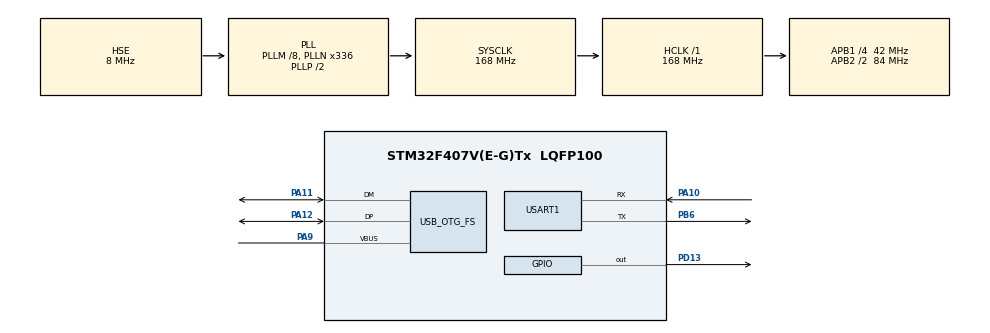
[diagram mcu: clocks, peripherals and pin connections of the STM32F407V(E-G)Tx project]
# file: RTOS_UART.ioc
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Dma.Request0=USART1_RX
Dma.Request1=USART1_TX
Dma.USART1_RX.0.Direction=DMA_PERIPH_TO_MEMORY
Dma.USART1_RX.0.FIFOMode=DMA_FIFOMODE_DISABLE
Dma.USART1_RX.0.Instance=DMA2_Stream2
Dma.USART1_RX.0.MemDataAlignment=DMA_MDATAALIGN_BYTE
Dma.USART1_RX.0.MemInc=DMA_MINC_ENABLE
Dma.USART1_RX.0.Mode=DMA_CIRCULAR
Dma.USART1_RX.0.PeriphDataAlignment=DMA_PDATAALIGN_BYTE
Dma.USART1_RX.0.PeriphInc=DMA_PINC_DISABLE
Dma.USART1_RX.0.Priority=DMA_PRIORITY_LOW
Dma.USART1_TX.1.Direction=DMA_MEMORY_TO_PERIPH
Dma.USART1_TX.1.FIFOMode=DMA_FIFOMODE_DISABLE
Dma.USART1_TX.1.Instance=DMA2_Stream7
Dma.USART1_TX.1.MemDataAlignment=DMA_MDATAALIGN_BYTE
Dma.USART1_TX.1.MemInc=DMA_MINC_ENABLE
Dma.USART1_TX.1.Mode=DMA_NORMAL
Dma.USART1_TX.1.PeriphDataAlignment=DMA_PDATAALIGN_BYTE
Dma.USART1_TX.1.PeriphInc=DMA_PINC_DISABLE
Dma.USART1_TX.1.Priority=DMA_PRIORITY_LOW
FREERTOS.Mutexes01=uartTxSem,Dynamic,NULL,Available
FREERTOS.Queues01=Queue_USART1_Rx,16,UartFrame_t,0,Dynamic,NULL,NULL;Queue_USART1_Tx,16,UartFrame_t,0,Dynamic,NULL,NULL
FREERTOS.Tasks01=Task_Usart1Rx,24,128,StartTask_Usart1Rx,Default,NULL,Dynamic,NULL,NULL;Task_Usart1Tx,24,128,StartTask_Usart1Tx,Default,NULL,Dynamic,NULL,NULL;TaskProcessing,24,128,StartTaskProcessing,Default,NULL,Dynamic,NULL,NULL
FREERTOS.configUSE_NEWLIB_REENTRANT=1
Mcu.Family=STM32F4
Mcu.Name=STM32F407V(E-G)Tx
Mcu.Package=LQFP100
NVIC.DMA2_Stream2_IRQn=true\:5\:0\:false\:false\:true\:true\:false\:true\:true
NVIC.DMA2_Stream7_IRQn=true\:5\:0\:false\:false\:true\:true\:false\:true\:true
NVIC.PriorityGroup=NVIC_PRIORITYGROUP_4
NVIC.TIM7_IRQn=true\:15\:0\:false\:false\:true\:false\:false\:true\:true
NVIC.TimeBase=TIM7_IRQn
NVIC.TimeBaseIP=TIM7
NVIC.USART1_IRQn=true\:5\:0\:false\:false\:true\:true\:true\:true\:true
PA10.Mode=Asynchronous
PA10.Signal=USART1_RX
PA11.Mode=Device_Only
PA11.Signal=USB_OTG_FS_DM
PA12.Mode=Device_Only
PA12.Signal=USB_OTG_FS_DP
PA13.Mode=Serial_Wire
PA13.Signal=SYS_JTMS-SWDIO
PA14.Mode=Serial_Wire
PA14.Signal=SYS_JTCK-SWCLK
PA9.Mode=Activate_VBUS
PA9.Signal=USB_OTG_FS_VBUS
PB6.Mode=Asynchronous
PB6.Signal=USART1_TX
PD13.Signal=GPIO_Output
PH0-OSC_IN.Mode=HSE-External-Oscillator
PH0-OSC_IN.Signal=RCC_OSC_IN
PH1-OSC_OUT.Mode=HSE-External-Oscillator
PH1-OSC_OUT.Signal=RCC_OSC_OUT
ProjectManager.HeapSize=0x200
ProjectManager.StackSize=0x400
ProjectManager.TargetToolchain=STM32CubeIDE
RCC.48MHZClocksFreq_Value=48000000
RCC.AHBFreq_Value=168000000
RCC.APB1CLKDivider=RCC_HCLK_DIV4
RCC.APB1Freq_Value=42000000
RCC.APB1TimFreq_Value=84000000
RCC.APB2CLKDivider=RCC_HCLK_DIV2
RCC.APB2Freq_Value=84000000
RCC.APB2TimFreq_Value=168000000
RCC.CortexFreq_Value=168000000
RCC.HCLKFreq_Value=168000000
RCC.HSE_VALUE=8000000
RCC.HSI_VALUE=16000000
RCC.LSE_VALUE=32768
RCC.PLLM=8
RCC.PLLN=336
RCC.PLLQ=7
RCC.SYSCLKFreq_VALUE=168000000
RCC.SYSCLKSource=RCC_SYSCLKSOURCE_PLLCLK
RCC.VCOOutputFreq_Value=336000000
USART1.VirtualMode=VM_ASYNC
USB_OTG_FS.VirtualMode=Device_Only
VP_FREERTOS_VS_CMSIS_V2.Mode=CMSIS_V2
VP_SYS_VS_tim7.Mode=TIM7
board=STM32F407G-DISC1

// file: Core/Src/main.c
/* USER CODE BEGIN Header */
/**
  ******************************************************************************
  * @file           : main.c
  * @brief          : Main program body
  ******************************************************************************
  * @attention
  *
  * Copyright (c) 2026 STMicroelectronics.
  * All rights reserved.
  *
  * This software is licensed under terms that can be found in the LICENSE file
  * in the root directory of this software component.
  * If no LICENSE file comes with this software, it is provided AS-IS.
  *
  ******************************************************************************
  */
/* USER CODE END Header */
#include "main.h"
#include "cmsis_os.h"

/* USER CODE BEGIN Includes */
#include "usart.h"

/* USER CODE END Includes */

UART_HandleTypeDef huart1;
DMA_HandleTypeDef hdma_usart1_rx;
DMA_HandleTypeDef hdma_usart1_tx;

PCD_HandleTypeDef hpcd_USB_OTG_FS;

/* Definitions for Task_Usart1Rx */
osThreadId_t Task_Usart1RxHandle;
const osThreadAttr_t Task_Usart1Rx_attributes = {
  .name = "Task_Usart1Rx",
  .stack_size = 128 * 4,
  .priority = (osPriority_t) osPriorityNormal,
};
/* Definitions for Task_Usart1Tx */
osThreadId_t Task_Usart1TxHandle;
const osThreadAttr_t Task_Usart1Tx_attributes = {
  .name = "Task_Usart1Tx",
  .stack_size = 128 * 4,
  .priority = (osPriority_t) osPriorityNormal,
};
/* Definitions for TaskProcessing */
osThreadId_t TaskProcessingHandle;
const osThreadAttr_t TaskProcessing_attributes = {
  .name = "TaskProcessing",
  .stack_size = 128 * 4,
  .priority = (osPriority_t) osPriorityNormal,
};
/* Definitions for Queue_USART1_Rx */
osMessageQueueId_t Queue_USART1_RxHandle;
const osMessageQueueAttr_t Queue_USART1_Rx_attributes = {
  .name = "Queue_USART1_Rx"
};
/* Definitions for Queue_USART1_Tx */
osMessageQueueId_t Queue_USART1_TxHandle;
const osMessageQueueAttr_t Queue_USART1_Tx_attributes = {
  .name = "Queue_USART1_Tx"
};
/* Definitions for uartTxSem */
osMutexId_t uartTxSemHandle;
const osMutexAttr_t uartTxSem_attributes = {
  .name = "uartTxSem"
};

void SystemClock_Config(void);
static void MX_GPIO_Init(void);
static void MX_DMA_Init(void);
static void MX_USB_OTG_FS_PCD_Init(void);
static void MX_USART1_UART_Init(void);
void StartTask_Usart1Rx(void *argument);
void StartTask_Usart1Tx(void *argument);
void StartTaskProcessing(void *argument);

int main(void)
{

  /* MCU Configuration--------------------------------------------------------*/

  /* Reset of all peripherals, Initializes the Flash interface and the Systick. */
  HAL_Init();

  /* Configure the system clock */
  SystemClock_Config();

  /* Initialize all configured peripherals */
  MX_GPIO_Init();
  MX_DMA_Init();
  MX_USB_OTG_FS_PCD_Init();
  MX_USART1_UART_Init();

  /* Init scheduler */
  osKernelInitialize();
  /* Create the mutex(es) */
  /* creation of uartTxSem */
  uartTxSemHandle = osMutexNew(&uartTxSem_attributes);

  /* USER CODE BEGIN RTOS_SEMAPHORES */
  /* create UART TX completion semaphore (initial count 1 so the first acquire succeeds) */
  {
    const osSemaphoreAttr_t uartTxSemAttr = { .name = "uartTxSem" };
    uartTxSemHandle = osSemaphoreNew(1, 1, &uartTxSemAttr);
    /* make the global uartTxSem (declared in usart.h) point to this handle */
    uartTxSem = (osSemaphoreId_t)uartTxSemHandle;
  }
  /* USER CODE END RTOS_SEMAPHORES */

  /* Create the queue(s) */
  /* creation of Queue_USART1_Rx */
  Queue_USART1_RxHandle = osMessageQueueNew (16, sizeof(UartFrame_t), &Queue_USART1_Rx_attributes);

  /* creation of Queue_USART1_Tx */
  Queue_USART1_TxHandle = osMessageQueueNew (16, sizeof(UartFrame_t), &Queue_USART1_Tx_attributes);

  /* Create the thread(s) */
  /* creation of Task_Usart1Rx */
  Task_Usart1RxHandle = osThreadNew(StartTask_Usart1Rx, NULL, &Task_Usart1Rx_attributes);

  /* creation of Task_Usart1Tx */
  Task_Usart1TxHandle = osThreadNew(StartTask_Usart1Tx, NULL, &Task_Usart1Tx_attributes);

  /* creation of TaskProcessing */
  TaskProcessingHandle = osThreadNew(StartTaskProcessing, NULL, &TaskProcessing_attributes);

  /* Start scheduler */
  osKernelStart();

  /* We should never get here as control is now taken by the scheduler */

  /* Infinite loop */
  while (1)
  {

  }
}

void SystemClock_Config(void)
{
  RCC_OscInitTypeDef RCC_OscInitStruct = {0};
  RCC_ClkInitTypeDef RCC_ClkInitStruct = {0};

  /** Configure the main internal regulator output voltage
  */
  __HAL_RCC_PWR_CLK_ENABLE();
  __HAL_PWR_VOLTAGESCALING_CONFIG(PWR_REGULATOR_VOLTAGE_SCALE1);

  /** Initializes the RCC Oscillators according to the specified parameters
  * in the RCC_OscInitTypeDef structure.
  */
  RCC_OscInitStruct.OscillatorType = RCC_OSCILLATORTYPE_HSE;
  RCC_OscInitStruct.HSEState = RCC_HSE_ON;
  RCC_OscInitStruct.PLL.PLLState = RCC_PLL_ON;
  RCC_OscInitStruct.PLL.PLLSource = RCC_PLLSOURCE_HSE;
  RCC_OscInitStruct.PLL.PLLM = 8;
  RCC_OscInitStruct.PLL.PLLN = 336;
  RCC_OscInitStruct.PLL.PLLP = RCC_PLLP_DIV2;
  RCC_OscInitStruct.PLL.PLLQ = 7;
  if (HAL_RCC_OscConfig(&RCC_OscInitStruct) != HAL_OK)
  {
    Error_Handler();
  }

  /** Initializes the CPU, AHB and APB buses clocks
  */
  RCC_ClkInitStruct.ClockType = RCC_CLOCKTYPE_HCLK|RCC_CLOCKTYPE_SYSCLK
                              |RCC_CLOCKTYPE_PCLK1|RCC_CLOCKTYPE_PCLK2;
  RCC_ClkInitStruct.SYSCLKSource = RCC_SYSCLKSOURCE_PLLCLK;
  RCC_ClkInitStruct.AHBCLKDivider = RCC_SYSCLK_DIV1;
  RCC_ClkInitStruct.APB1CLKDivider = RCC_HCLK_DIV4;
  RCC_ClkInitStruct.APB2CLKDivider = RCC_HCLK_DIV2;

  if (HAL_RCC_ClockConfig(&RCC_ClkInitStruct, FLASH_LATENCY_5) != HAL_OK)
  {
    Error_Handler();
  }
}

static void MX_USART1_UART_Init(void)
{

  huart1.Instance = USART1;
  huart1.Init.BaudRate = 115200;
  huart1.Init.WordLength = UART_WORDLENGTH_8B;
  huart1.Init.StopBits = UART_STOPBITS_1;
  huart1.Init.Parity = UART_PARITY_NONE;
  huart1.Init.Mode = UART_MODE_TX_RX;
  huart1.Init.HwFlowCtl = UART_HWCONTROL_NONE;
  huart1.Init.OverSampling = UART_OVERSAMPLING_16;
  if (HAL_UART_Init(&huart1) != HAL_OK)
  {
    Error_Handler();
  }

}

static void MX_USB_OTG_FS_PCD_Init(void)
{

  hpcd_USB_OTG_FS.Instance = USB_OTG_FS;
  hpcd_USB_OTG_FS.Init.dev_endpoints = 4;
  hpcd_USB_OTG_FS.Init.speed = PCD_SPEED_FULL;
  hpcd_USB_OTG_FS.Init.dma_enable = DISABLE;
  hpcd_USB_OTG_FS.Init.phy_itface = PCD_PHY_EMBEDDED;
  hpcd_USB_OTG_FS.Init.Sof_enable = DISABLE;
  hpcd_USB_OTG_FS.Init.low_power_enable = DISABLE;
  hpcd_USB_OTG_FS.Init.lpm_enable = DISABLE;
  hpcd_USB_OTG_FS.Init.vbus_sensing_enable = ENABLE;
  hpcd_USB_OTG_FS.Init.use_dedicated_ep1 = DISABLE;
  if (HAL_PCD_Init(&hpcd_USB_OTG_FS) != HAL_OK)
  {
    Error_Handler();
  }

}

static void MX_DMA_Init(void)
{

  /* DMA controller clock enable */
  __HAL_RCC_DMA2_CLK_ENABLE();

  /* DMA interrupt init */
  /* DMA2_Stream2_IRQn interrupt configuration */
  HAL_NVIC_SetPriority(DMA2_Stream2_IRQn, 5, 0);
  HAL_NVIC_EnableIRQ(DMA2_Stream2_IRQn);
  /* DMA2_Stream7_IRQn interrupt configuration */
  HAL_NVIC_SetPriority(DMA2_Stream7_IRQn, 5, 0);
  HAL_NVIC_EnableIRQ(DMA2_Stream7_IRQn);

}

static void MX_GPIO_Init(void)
{
  GPIO_InitTypeDef GPIO_InitStruct = {0};

  /* GPIO Ports Clock Enable */
  __HAL_RCC_GPIOH_CLK_ENABLE();
  __HAL_RCC_GPIOD_CLK_ENABLE();
  __HAL_RCC_GPIOA_CLK_ENABLE();
  __HAL_RCC_GPIOB_CLK_ENABLE();

  /*Configure GPIO pin Output Level */
  HAL_GPIO_WritePin(GPIOD, GPIO_PIN_13, GPIO_PIN_RESET);

  /*Configure GPIO pin : PD13 */
  GPIO_InitStruct.Pin = GPIO_PIN_13;
  GPIO_InitStruct.Mode = GPIO_MODE_OUTPUT_PP;
  GPIO_InitStruct.Pull = GPIO_NOPULL;
  GPIO_InitStruct.Speed = GPIO_SPEED_FREQ_LOW;
  HAL_GPIO_Init(GPIOD, &GPIO_InitStruct);

}

void StartTask_Usart1Rx(void *argument)
{
  /* USER CODE BEGIN 5 */
  /* debug */
  //HAL_UART_Transmit(&huart1, "RX Start", 13, 1000);
  /* end debug */
  HAL_StatusTypeDef status;
  osDelay(50); // wait for UART to be ready
  status = HAL_UART_Receive_DMA(&huart1, rx_dma_buf, RX_DMA_BUF_SIZE);

  if (status != HAL_OK)
  {
    HAL_GPIO_TogglePin(GPIOD, GPIO_PIN_13);
  }
  /* Infinite loop */
  for(;;)
  {
    osDelay(1000);
  }
  /* USER CODE END 5 */
}

void StartTask_Usart1Tx(void *argument)
{
  /* USER CODE BEGIN StartTask_Usart1Tx */
  UartFrame_t msg;
  /* Infinite loop */
  for(;;)
  {
    if (osMessageQueueGet(Queue_USART1_TxHandle, &msg, NULL, osWaitForever) == osOK)
    {
      /* acquire semaphore to ensure single TX at a time */
      osSemaphoreAcquire(uartTxSem, osWaitForever);

      if (HAL_UART_Transmit_DMA(&huart1, msg.data, msg.len) != HAL_OK)
      {
        /* if DMA start failed, release semaphore and requeue message */
        osSemaphoreRelease(uartTxSem);
        osMessageQueuePut(Queue_USART1_TxHandle, &msg, 0, 0);
        osDelay(1);
        continue;
      }

      /* wait for TX complete signalled by semaphore release in ISR */
      osSemaphoreAcquire(uartTxSem, osWaitForever);

      /* release semaphore for next user */
      osSemaphoreRelease(uartTxSem);
    }
  }
  /* USER CODE END StartTask_Usart1Tx */
}

void StartTaskProcessing(void *argument)
{
  /* USER CODE BEGIN StartTaskProcessing */
  UartFrame_t msg;
  /* Infinite loop */
  for(;;)
  {
    /* wait until ISR signals an IDLE-line frame is ready */
    osThreadFlagsWait(USART_RX_DONE_FLAG, osFlagsWaitAny, osWaitForever);

    if (msg.len > RX_DMA_BUF_SIZE)
    {
      msg.len = RX_DMA_BUF_SIZE;
    }

    for (uint16_t i = 0; i < msg.len; i++)
    {
      msg.data[i] = rx_dma_buf[i];
    }

    if (msg.len > 0)
    {
      switch (msg.data[0])
      {
      case '1':
          if (msg.data[1] == '1')
          {
              HAL_GPIO_TogglePin(GPIOD, GPIO_PIN_13);
              osDelay(1000);
          }
          break;

      case '2':
          HAL_GPIO_TogglePin(GPIOD, GPIO_PIN_13);
          osDelay(1000);
          break;

      case '3':
        HAL_GPIO_TogglePin(GPIOD, GPIO_PIN_13);
        osDelay(100);
        break;
      default:
        break;
      }
    }

    if (HAL_UARTEx_ReceiveToIdle_DMA(&huart1, rx_dma_buf, RX_DMA_BUF_SIZE) != HAL_OK)
    {
      HAL_GPIO_TogglePin(GPIOD, GPIO_PIN_13);
    }

    /* forward to TX queue */
    osMessageQueuePut(Queue_USART1_TxHandle, &msg, 0, osWaitForever);
  }
  /* USER CODE END StartTaskProcessing */
}

void HAL_TIM_PeriodElapsedCallback(TIM_HandleTypeDef *htim)
{
  if (htim->Instance == TIM7)
  {
    HAL_IncTick();
  }
}

void Error_Handler(void)
{
  __disable_irq();
  while (1)
  {
  }
}
